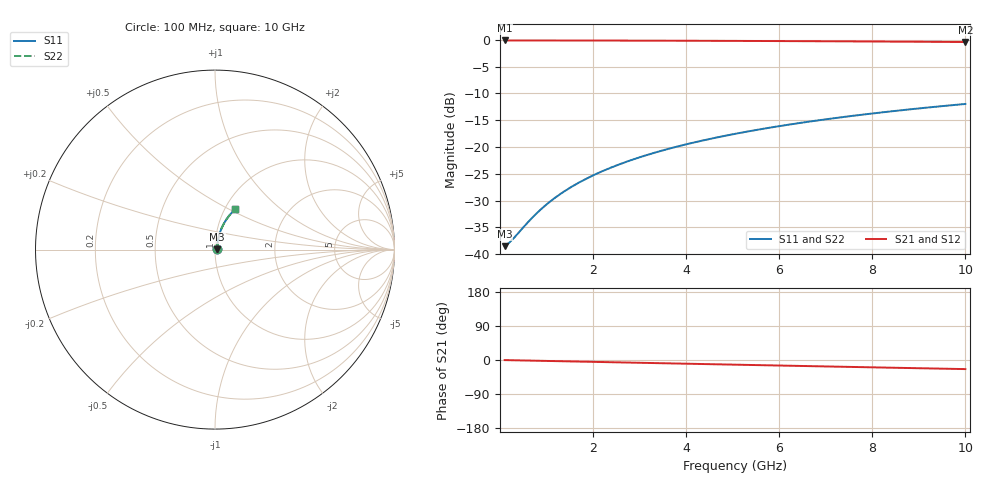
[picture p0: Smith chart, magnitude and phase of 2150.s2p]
# Hz S RI R 50.00
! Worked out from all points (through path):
!   100 points, 100 MHz to 10 GHz, reference 50 ohm
!   highest |S21| = -0.10 dB at 100 MHz (marker M1); lowest = -0.4 dB at 10 GHz (marker M2)
!   group delay of S21, straight-line fit = 6.68 ps
!   lowest |S11| = -38.5 dB at 100 MHz (marker M3), VSWR 1.02, Z = 51.2 + j0.266 ohm
!   |S11| at or under -10 dB: start of sweep to end of sweep
!   |S22| runs from -38.5 to -12.0 dB; largest |S21 - S12| = 0
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1e8  0.0116 0.0026  0.9884 -0.00423  0.9884 -0.00423  0.0116 0.0026
2e8  0.0117 0.0052  0.9883 -0.00846  0.9883 -0.00846  0.0117 0.0052
3e8  0.0118 0.0078  0.9882 -0.0127  0.9882 -0.0127  0.0118 0.0078
7e8  0.0124 0.0182  0.9876 -0.0296  0.9876 -0.0296  0.0124 0.0182
8e8  0.0126 0.0208  0.9873 -0.0338  0.9873 -0.0338  0.0126 0.0208
1e9  0.013 0.026  0.9868 -0.0422  0.9868 -0.0422  0.013 0.026
1.2e9  0.0135 0.0311  0.9862 -0.0507  0.9862 -0.0507  0.0135 0.0311
1.4e9  0.0142 0.0363  0.9856 -0.0591  0.9856 -0.0591  0.0142 0.0363
1.6e9  0.0149 0.0414  0.9848 -0.0675  0.9848 -0.0675  0.0149 0.0414
1.8e9  0.0156 0.0466  0.9839 -0.0759  0.9839 -0.0759  0.0156 0.0466
2.1e9  0.017 0.0542  0.9824 -0.0884  0.9824 -0.0884  0.017 0.0542
2.5e9  0.0191 0.0644  0.9801 -0.1051  0.9801 -0.1051  0.0191 0.0644
2.9e9  0.0215 0.0744  0.9773 -0.1216  0.9773 -0.1216  0.0215 0.0744
3.4e9  0.025 0.0869  0.9734 -0.1422  0.9734 -0.1422  0.025 0.0869
3.8e9  0.0281 0.0967  0.9699 -0.1586  0.9699 -0.1586  0.0281 0.0967
4.2e9  0.0316 0.1064  0.9659 -0.1748  0.9659 -0.1748  0.0316 0.1064
5.1e9  0.0406 0.1276  0.9558 -0.2107  0.9558 -0.2107  0.0406 0.1276
5.9e9  0.0499 0.1457  0.9454 -0.2419  0.9454 -0.2419  0.0499 0.1457
6.7e9  0.0603 0.1631  0.9336 -0.2724  0.9336 -0.2724  0.0603 0.1631
7.5e9  0.0718 0.1796  0.9206 -0.302  0.9206 -0.302  0.0718 0.1796
8.4e9  0.0858 0.1972  0.9045 -0.3343  0.9045 -0.3343  0.0858 0.1972
1e10  0.1135 0.2252  0.8728 -0.3887  0.8728 -0.3887  0.1135 0.2252
